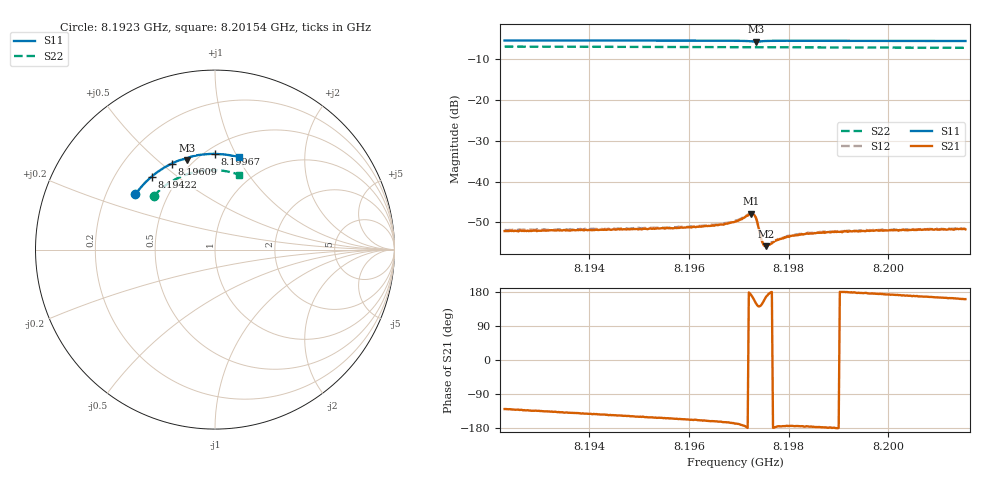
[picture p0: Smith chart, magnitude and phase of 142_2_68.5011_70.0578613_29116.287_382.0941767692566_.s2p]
#  HZ  S  RI  R  50.00
! Rohde & Schwarz Vector Network Analyzer
! Rohde-Schwarz,ZNB20-2Port,1311601062101988,3.16
! Created: UTC 3/20/2024, 5:10:04 PM
! freq[Hz]  re:S11  im:S11  re:S21  im:S21  re:S12  im:S12  re:S22  im:S22
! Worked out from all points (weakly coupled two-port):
!   401 points, 8.1923 GHz to 8.20154 GHz, reference 50 ohm
!   highest |S21| = -47.80 dB at 8.19725 GHz (marker M1); lowest = -55.8 dB at 8.19755 GHz (marker M2)
!   lowest |S11| = -5.7 dB at 8.19734 GHz (marker M3), VSWR 3.17, Z = 23 + j31.3 ohm
!   |S11| at or under -10 dB: nowhere
!   |S22| runs from -7.2 to -6.9 dB; largest |S21 - S12| = 0.00023
!   S11 on the Smith chart (normalised r, x): 8.1923 GHz: 0.33, +0.28; 8.19422 GHz: 0.36, +0.41; 8.19609 GHz: 0.40, +0.54; 8.19967 GHz: 0.56, +0.83; 8.20154 GHz: 0.70, +1.01
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8.192302e9  -0.4431 0.3079  -0.00158 -0.00192  -0.00171 -0.00192  -0.3423 0.2976
8.19385e9  -0.3716 0.39  -0.00201 -0.0016  -0.00207 -0.00157  -0.2783 0.3555
8.19422e9  -0.3522 0.4072  -0.00209 -0.00152  -0.00221 -0.0015  -0.2613 0.3674
8.195398e9  -0.2848 0.456  -0.00236 -0.00124  -0.00246 -0.00116  -0.204 0.4002
8.196091e9  -0.2415 0.4795  -0.00259 -0.00103  -0.00266 -0.000956  -0.1681 0.4154
8.1966e9  -0.2077 0.4942  -0.00282 -0.000877  -0.0029 -0.000757  -0.1409 0.4244
8.196923e9  -0.1847 0.502  -0.00317 -0.000667  -0.00325 -0.000618  -0.1234 0.4294
8.197247e9  -0.1577 0.5022  -0.00403 0.00061  -0.0041 0.000801  -0.1055 0.4332
8.197293e9  -0.1557 0.4992  -0.0038 0.00124  -0.00388 0.00145  -0.103 0.4338
8.197339e9  -0.1566 0.4967  -0.00318 0.0018  -0.00315 0.00193  -0.1006 0.4341
8.197386e9  -0.1588 0.4977  -0.0023 0.00178  -0.0023 0.00194  -0.0982 0.4346
8.197455e9  -0.1585 0.5032  -0.0016 0.00108  -0.00157 0.00118  -0.0945 0.4355
8.197478e9  -0.1574 0.505  -0.00156 0.00088  -0.00152 0.000938  -0.0933 0.4359
8.197501e9  -0.1561 0.5068  -0.00151 0.000676  -0.00152 0.000762  -0.0919 0.4361
8.197547e9  -0.1527 0.5093  -0.00158 0.00036  -0.00157 0.000479  -0.0892 0.4366
8.197617e9  -0.1474 0.5124  -0.00168 0.000117  -0.00174 0.000188  -0.0853 0.4373
8.197778e9  -0.1351 0.5172  -0.00193 -0.000173  -0.00197 -6.28e-05  -0.0762 0.4387
8.197986e9  -0.1197 0.5213  -0.00212 -0.000204  -0.00217 -0.000118  -0.0646 0.4401
8.198472e9  -0.0849 0.5279  -0.00232 -0.000147  -0.00237 -4.82e-05  -0.0372 0.4425
8.199673e9  0.000461 0.5335  -0.0025 0.000196  -0.00252 0.000322  0.0311 0.4406
8.20002e9  0.0249 0.5326  -0.00253 0.000313  -0.00252 0.00044  0.0506 0.4383
8.201545e9  0.131 0.5149  -0.00246 0.000863  -0.00247 0.000951  0.1348 0.4171
